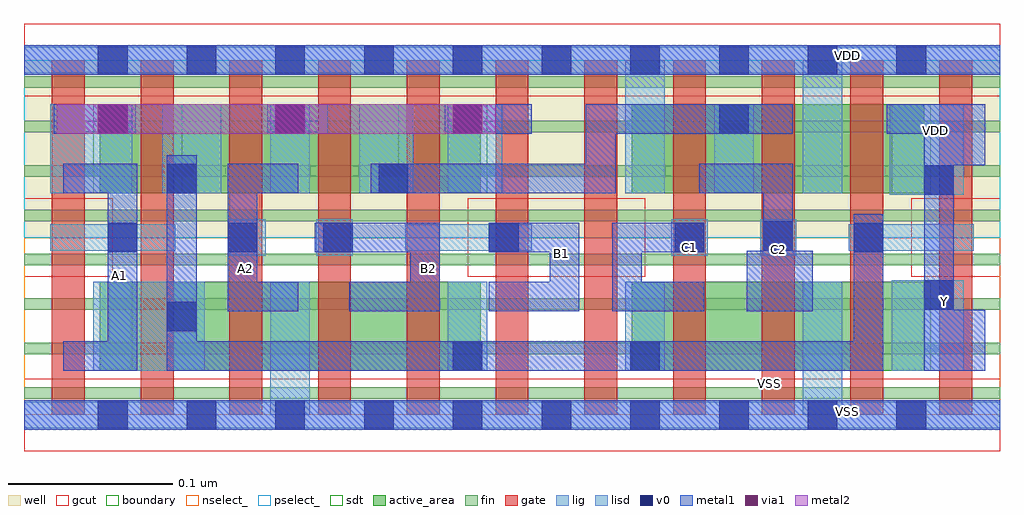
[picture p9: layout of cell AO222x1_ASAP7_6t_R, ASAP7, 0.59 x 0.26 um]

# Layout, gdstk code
import gdstk
lib = gdstk.Library(unit=1e-6, precision=2.5e-10)
def R(c, l, rs):  # rectangles x0, y0, x1, y1
    for r in rs: c.add(gdstk.rectangle(r[:2], r[2:], *l))
def A(c, l, x, y, w, h, nx, ny, dx, dy):  # array of equal rectangles
    R(c, l, [(x+i*dx, y+j*dy, x+i*dx+w, y+j*dy+h) for i in range(nx) for j in range(ny)])
def P(c, l, *ps):  # polygons
    for p in ps: c.add(gdstk.Polygon(p, *l))
well = (1, 0)
fin = (2, 0)
gate = (7, 0)
gcut = (10, 0)
active_area = (11, 0)
nselect_ = (12, 0)
pselect_ = (13, 0)
lig = (16, 0)
lisd = (17, 0)
v0 = (18, 0)
metal1 = (19, 0)
metal2 = (20, 0)
via1 = (21, 0)
sdt = (88, 0)
boundary = (100, 0)

ao222x1_asap7_6t_r = lib.new_cell('AO222x1_ASAP7_6t_R')
R(ao222x1_asap7_6t_r, well, [(0,0.108,0.594,0.216)])
A(ao222x1_asap7_6t_r, fin, 0, 0.01, 0.594, 0.007, 1, 8, 0, 0.027)
A(ao222x1_asap7_6t_r, gate, 0.017, 0, 0.02, 0.216, 11, 1, 0.054, 0)
R(ao222x1_asap7_6t_r, gcut, [(0,-0.022,0.594,0.022), (0,0.084,0.054,0.132), (0.27,0.084,0.378,0.132), (0.54,0.084,0.594,0.132), (0,0.194,0.594,0.238)])
R(ao222x1_asap7_6t_r, active_area, [(0.046,0.027,0.278,0.081), (0.37,0.027,0.548,0.081), (0.046,0.135,0.278,0.189), (0.37,0.135,0.548,0.189)])
R(ao222x1_asap7_6t_r, nselect_, [(0,0,0.594,0.108)])
R(ao222x1_asap7_6t_r, pselect_, [(0,0.108,0.594,0.216)])
R(ao222x1_asap7_6t_r, lig, [(0,-0.008,0.594,0.008), (0.124,0.097,0.147,0.119), (0.178,0.097,0.2,0.119), (0.394,0.097,0.416,0.119), (0.448,0.097,0.47,0.119), (0.016,0.1,0.092,0.116), (0.232,0.1,0.309,0.116), (0.502,0.1,0.578,0.116), (0,0.208,0.594,0.224)])
R(ao222x1_asap7_6t_r, lisd, [(0.15,0,0.174,0.081), (0.474,0,0.498,0.081), (0.042,0.027,0.11,0.081), (0.258,0.027,0.282,0.081), (0.366,0.027,0.39,0.081), (0.528,0.027,0.572,0.082), (0.527,0.134,0.572,0.189), (0.016,0.135,0.066,0.189), (0.084,0.135,0.12,0.189), (0.15,0.135,0.174,0.189), (0.204,0.135,0.237,0.189), (0.258,0.135,0.291,0.189), (0.366,0.135,0.39,0.216), (0.42,0.135,0.444,0.189), (0.474,0.135,0.498,0.216)])
A(ao222x1_asap7_6t_r, v0, 0.045, -0.009, 0.018, 0.018, 10, 2, 0.054, 0.216)
A(ao222x1_asap7_6t_r, v0, 0.045, 0.171, 0.018, 0.018, 3, 1, 0.108, 0)
R(ao222x1_asap7_6t_r, v0, [(0.261,0.027,0.279,0.045), (0.369,0.027,0.387,0.045), (0.087,0.051,0.105,0.069), (0.548,0.064,0.566,0.082), (0.051,0.099,0.069,0.117), (0.124,0.099,0.142,0.117), (0.182,0.099,0.2,0.117), (0.283,0.099,0.301,0.117), (0.396,0.099,0.414,0.117), (0.505,0.099,0.523,0.117), (0.45,0.1,0.468,0.118), (0.548,0.134,0.566,0.152), (0.087,0.135,0.105,0.153), (0.216,0.135,0.234,0.153), (0.423,0.171,0.441,0.189)])
R(ao222x1_asap7_6t_r, metal1, [(0,-0.009,0.594,0.009), (0.018,0.171,0.068,0.189), (0.148,0.171,0.185,0.189), (0.256,0.171,0.309,0.189), (0,0.207,0.594,0.225)])
P(ao222x1_asap7_6t_r, metal1, [(0.523,0.122),(0.505,0.122),(0.505,0.045),(0.105,0.045),(0.105,0.158),(0.087,0.158),(0.087,0.027),(0.523,0.027)],
  [(0.48,0.1),(0.468,0.1),(0.468,0.153),(0.411,0.153),(0.411,0.135),(0.45,0.135),(0.45,0.1),(0.44,0.1),(0.44,0.063),(0.48,0.063)],
  [(0.468,0.189),(0.342,0.189),(0.342,0.153),(0.211,0.153),(0.211,0.135),(0.36,0.135),(0.36,0.171),(0.468,0.171)],
  [(0.414,0.081),(0.376,0.081),(0.376,0.099),(0.414,0.099),(0.414,0.117),(0.358,0.117),(0.358,0.063),(0.414,0.063)],
  [(0.338,0.117),(0.283,0.117),(0.283,0.099),(0.32,0.099),(0.32,0.081),(0.283,0.081),(0.283,0.063),(0.338,0.063)],
  [(0.253,0.117),(0.177,0.117),(0.177,0.099),(0.235,0.099),(0.235,0.081),(0.198,0.081),(0.198,0.063),(0.253,0.063)],
  [(0.167,0.081),(0.142,0.081),(0.142,0.135),(0.167,0.135),(0.167,0.153),(0.124,0.153),(0.124,0.063),(0.167,0.063)],
  [(0.069,0.153),(0.024,0.153),(0.024,0.135),(0.051,0.135),(0.051,0.045),(0.024,0.045),(0.024,0.027),(0.069,0.027)],
  [(0.585,0.064),(0.566,0.064),(0.566,0.152),(0.585,0.152),(0.585,0.189),(0.525,0.189),(0.525,0.171),(0.548,0.171),(0.548,0.027),(0.585,0.027)])
R(ao222x1_asap7_6t_r, metal2, [(0.02,0.171,0.287,0.189)])
A(ao222x1_asap7_6t_r, via1, 0.045, 0.171, 0.018, 0.018, 3, 1, 0.108, 0)
A(ao222x1_asap7_6t_r, sdt, 0.042, 0.027, 0.024, 0.054, 5, 1, 0.108, 0)
A(ao222x1_asap7_6t_r, sdt, 0.042, 0.135, 0.024, 0.054, 5, 1, 0.054, 0)
A(ao222x1_asap7_6t_r, sdt, 0.366, 0.135, 0.024, 0.054, 4, 1, 0.054, 0)
R(ao222x1_asap7_6t_r, sdt, [(0.528,0.027,0.552,0.081)])
R(ao222x1_asap7_6t_r, boundary, [(0,0,0.594,0.216)])
ao222x1_asap7_6t_r.add(gdstk.Label('VDD', (0.555,0.173), layer=1, texttype=251))
ao222x1_asap7_6t_r.add(gdstk.Label('VSS', (0.454,0.019), layer=3, texttype=251))
ao222x1_asap7_6t_r.add(gdstk.Label('VDD', (0.501,0.219), layer=19, texttype=251))
ao222x1_asap7_6t_r.add(gdstk.Label('C1', (0.405,0.102), layer=19, texttype=251))
ao222x1_asap7_6t_r.add(gdstk.Label('C2', (0.459,0.101), layer=19, texttype=251))
ao222x1_asap7_6t_r.add(gdstk.Label('B1', (0.327,0.098), layer=19, texttype=251))
ao222x1_asap7_6t_r.add(gdstk.Label('A2', (0.135,0.089), layer=19, texttype=251))
ao222x1_asap7_6t_r.add(gdstk.Label('B2', (0.246,0.089), layer=19, texttype=251))
ao222x1_asap7_6t_r.add(gdstk.Label('A1', (0.058,0.085), layer=19, texttype=251))
ao222x1_asap7_6t_r.add(gdstk.Label('VSS', (0.501,0.002), layer=19, texttype=251))
ao222x1_asap7_6t_r.add(gdstk.Label('Y', (0.56,0.069), layer=19, texttype=251))

lib.write_gds('AO222x1_ASAP7_6t_R.gds')
